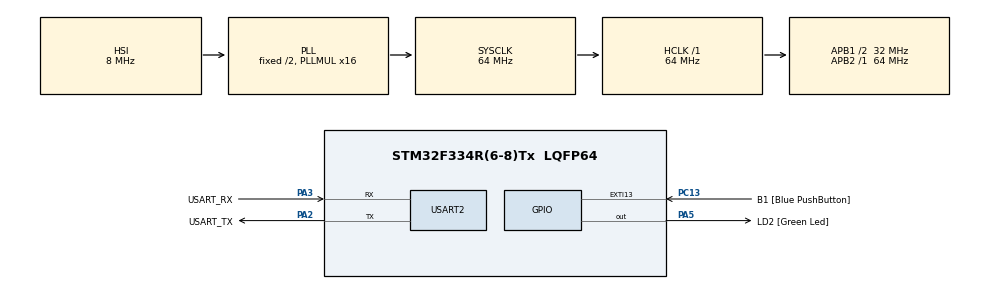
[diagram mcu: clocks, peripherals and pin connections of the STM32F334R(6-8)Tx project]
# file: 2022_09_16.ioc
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Mcu.Family=STM32F3
Mcu.Name=STM32F334R(6-8)Tx
Mcu.Package=LQFP64
NVIC.PriorityGroup=NVIC_PRIORITYGROUP_0
PA13.GPIO_Label=TMS
PA13.Mode=Serial_Wire
PA13.Signal=SYS_JTMS-SWDIO
PA14.GPIO_Label=TCK
PA14.Mode=Serial_Wire
PA14.Signal=SYS_JTCK-SWCLK
PA2.GPIO_Label=USART_TX
PA2.Mode=Asynchronous
PA2.Signal=USART2_TX
PA3.GPIO_Label=USART_RX
PA3.Mode=Asynchronous
PA3.Signal=USART2_RX
PA5.GPIO_Label=LD2 [Green Led]
PA5.Signal=GPIO_Output
PB3.GPIO_Label=SWO
PB3.Signal=SYS_JTDO-TRACESWO
PC13.GPIO_Label=B1 [Blue PushButton]
PC13.GPIO_ModeDefaultEXTI=GPIO_MODE_IT_FALLING
PC13.Signal=GPXTI13
PC14\ /\ OSC32_IN.Signal=RCC_OSC32_IN
PC15\ /\ OSC32_OUT.GPIO_Label=RCC_OSC32_OUT
PC15\ /\ OSC32_OUT.Signal=RCC_OSC32_OUT
PF0\ /\ OSC_IN.Signal=RCC_OSC_IN
PF1\ /\ OSC_OUT.Signal=RCC_OSC_OUT
ProjectManager.HeapSize=0x200
ProjectManager.StackSize=0x400
ProjectManager.TargetToolchain=STM32CubeIDE
RCC.AHBFreq_Value=64000000
RCC.APB1CLKDivider=RCC_HCLK_DIV2
RCC.APB1Freq_Value=32000000
RCC.APB1TimFreq_Value=64000000
RCC.APB2Freq_Value=64000000
RCC.APB2TimFreq_Value=64000000
RCC.CortexFreq_Value=64000000
RCC.FLatency-AdvancedSettings=FLASH_LATENCY_2
RCC.HCLKFreq_Value=64000000
RCC.HSE_VALUE=8000000
RCC.HSI_VALUE=8000000
RCC.PLLMUL=RCC_PLL_MUL16
RCC.SYSCLKFreq_VALUE=64000000
RCC.SYSCLKSourceVirtual=RCC_SYSCLKSOURCE_PLLCLK
USART2.VirtualMode-Asynchronous=VM_ASYNC
board=NUCLEO-F334R8

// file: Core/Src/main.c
/* USER CODE BEGIN Header */
/**
  ******************************************************************************
  * @file           : main.c
  * @brief          : Main program body
  ******************************************************************************
  * @attention
  *
  * Copyright (c) 2022 STMicroelectronics.
  * All rights reserved.
  *
  * This software is licensed under terms that can be found in the LICENSE file
  * in the root directory of this software component.
  * If no LICENSE file comes with this software, it is provided AS-IS.
  *
  ******************************************************************************
  */
/* USER CODE END Header */
#include "main.h"

/* USER CODE BEGIN Includes */
#include <stdio.h>
/* USER CODE END Includes */

UART_HandleTypeDef huart2;

void SystemClock_Config(void);
static void MX_GPIO_Init(void);
static void MX_USART2_UART_Init(void);

/* USER CODE BEGIN 0 */
#ifdef __GNUC__

/* With GCC, small printf (option LD Linker->Libraries->Small printf

   set to 'Yes') calls __io_putchar() */

#define PUTCHAR_PROTOTYPE int __io_putchar(int ch)

#else

#define PUTCHAR_PROTOTYPE int fputc(int ch, FILE *f)

#endif /* __GNUC__ */

/**

  * @brief  Retargets the C library printf function to the USART.

  * @param  None

  * @retval None

  */

PUTCHAR_PROTOTYPE

{

  /* Place your implementation of fputc here */

  /* e.g. write a character to the USART1 and Loop until the end of transmission */

  if (ch == '\n')

    HAL_UART_Transmit (&huart2, (uint8_t*) "\r", 1, 0xFFFF);

  HAL_UART_Transmit (&huart2, (uint8_t*) &ch, 1, 0xFFFF);

  return ch;

}

/* USER CODE END 0 */

int main(void)
{

  /* MCU Configuration--------------------------------------------------------*/

  /* Reset of all peripherals, Initializes the Flash interface and the Systick. */
  HAL_Init();

  /* Configure the system clock */
  SystemClock_Config();

  /* Initialize all configured peripherals */
  MX_GPIO_Init();
  MX_USART2_UART_Init();

  /* Infinite loop */
  /* USER CODE BEGIN WHILE */
  while (1)
  {
	  printf("Hello World\n");
	  HAL_Delay(500);
	  HAL_GPIO_TogglePin(LD2_GPIO_Port,LD2_Pin);
	  HAL_Delay(500);
    /* USER CODE END WHILE */

  }
}

void SystemClock_Config(void)
{
  RCC_OscInitTypeDef RCC_OscInitStruct = {0};
  RCC_ClkInitTypeDef RCC_ClkInitStruct = {0};

  /** Initializes the RCC Oscillators according to the specified parameters
  * in the RCC_OscInitTypeDef structure.
  */
  RCC_OscInitStruct.OscillatorType = RCC_OSCILLATORTYPE_HSI;
  RCC_OscInitStruct.HSIState = RCC_HSI_ON;
  RCC_OscInitStruct.HSICalibrationValue = RCC_HSICALIBRATION_DEFAULT;
  RCC_OscInitStruct.PLL.PLLState = RCC_PLL_ON;
  RCC_OscInitStruct.PLL.PLLSource = RCC_PLLSOURCE_HSI;
  RCC_OscInitStruct.PLL.PLLMUL = RCC_PLL_MUL16;
  if (HAL_RCC_OscConfig(&RCC_OscInitStruct) != HAL_OK)
  {
    Error_Handler();
  }
  /** Initializes the CPU, AHB and APB buses clocks
  */
  RCC_ClkInitStruct.ClockType = RCC_CLOCKTYPE_HCLK|RCC_CLOCKTYPE_SYSCLK
                              |RCC_CLOCKTYPE_PCLK1|RCC_CLOCKTYPE_PCLK2;
  RCC_ClkInitStruct.SYSCLKSource = RCC_SYSCLKSOURCE_PLLCLK;
  RCC_ClkInitStruct.AHBCLKDivider = RCC_SYSCLK_DIV1;
  RCC_ClkInitStruct.APB1CLKDivider = RCC_HCLK_DIV2;
  RCC_ClkInitStruct.APB2CLKDivider = RCC_HCLK_DIV1;

  if (HAL_RCC_ClockConfig(&RCC_ClkInitStruct, FLASH_LATENCY_2) != HAL_OK)
  {
    Error_Handler();
  }
}

static void MX_USART2_UART_Init(void)
{

  huart2.Instance = USART2;
  huart2.Init.BaudRate = 38400;
  huart2.Init.WordLength = UART_WORDLENGTH_8B;
  huart2.Init.StopBits = UART_STOPBITS_1;
  huart2.Init.Parity = UART_PARITY_NONE;
  huart2.Init.Mode = UART_MODE_TX_RX;
  huart2.Init.HwFlowCtl = UART_HWCONTROL_NONE;
  huart2.Init.OverSampling = UART_OVERSAMPLING_16;
  huart2.Init.OneBitSampling = UART_ONE_BIT_SAMPLE_DISABLE;
  huart2.AdvancedInit.AdvFeatureInit = UART_ADVFEATURE_NO_INIT;
  if (HAL_UART_Init(&huart2) != HAL_OK)
  {
    Error_Handler();
  }

}

static void MX_GPIO_Init(void)
{
  GPIO_InitTypeDef GPIO_InitStruct = {0};

  /* GPIO Ports Clock Enable */
  __HAL_RCC_GPIOC_CLK_ENABLE();
  __HAL_RCC_GPIOF_CLK_ENABLE();
  __HAL_RCC_GPIOA_CLK_ENABLE();
  __HAL_RCC_GPIOB_CLK_ENABLE();

  /*Configure GPIO pin Output Level */
  HAL_GPIO_WritePin(LD2_GPIO_Port, LD2_Pin, GPIO_PIN_RESET);

  /*Configure GPIO pin : B1_Pin */
  GPIO_InitStruct.Pin = B1_Pin;
  GPIO_InitStruct.Mode = GPIO_MODE_IT_FALLING;
  GPIO_InitStruct.Pull = GPIO_NOPULL;
  HAL_GPIO_Init(B1_GPIO_Port, &GPIO_InitStruct);

  /*Configure GPIO pin : LD2_Pin */
  GPIO_InitStruct.Pin = LD2_Pin;
  GPIO_InitStruct.Mode = GPIO_MODE_OUTPUT_PP;
  GPIO_InitStruct.Pull = GPIO_NOPULL;
  GPIO_InitStruct.Speed = GPIO_SPEED_FREQ_LOW;
  HAL_GPIO_Init(LD2_GPIO_Port, &GPIO_InitStruct);

}

void Error_Handler(void)
{
  __disable_irq();
  while (1)
  {
  }
}
